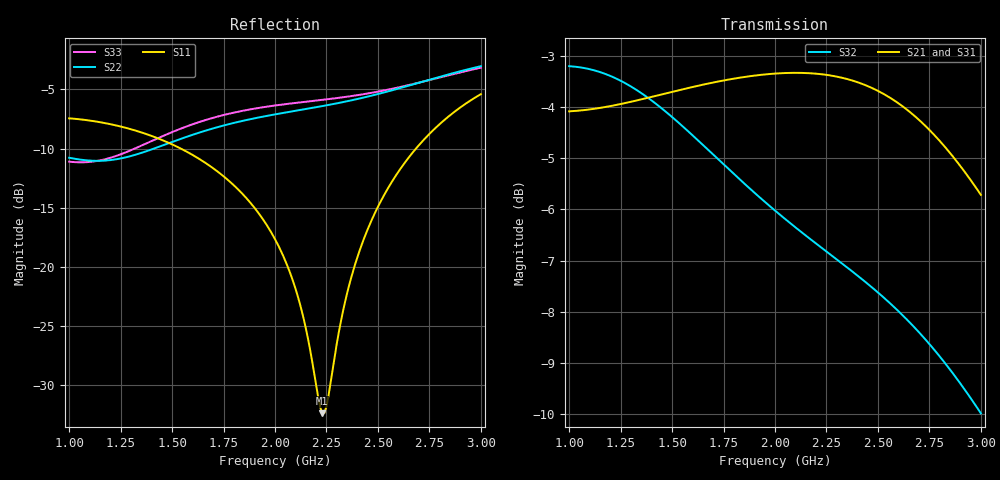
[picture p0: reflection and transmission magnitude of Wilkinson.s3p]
! Touchstone file exported from HFSS 2021.1.0
!  File:  C:/Users/deng/Documents/Ansoft/Wilkinson_v1.aedt
!  Generated:  5:33:42 %x4E0B%x5348  7%x6708 20, 2026
!  Design:  Wilkinson_2p4GHz
!  Project:  Wilkinson_v1
!  Setup:  Setup1
!  Solution:  Sweep
# GHz S MA R 50.000000
! Terminal data exported
! Port[1] = 1
! Port[2] = 2
! Port[3] = 3
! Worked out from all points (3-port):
!   201 points, 1 GHz to 3 GHz, reference 50 ohm
!   strongest paths, dB at 1 GHz, 1.5 GHz, 2 GHz, 2.5 GHz, 3 GHz:
!     S21: -4.1, -3.7, -3.3, -3.7, -5.7
!     S31: -4.0, -4.0, -3.7, -3.8, -5.6
!     S32: -3.2, -4.2, -6.0, -7.6, -10.0
!   lowest |S11| = -32.4 dB at 2.23 GHz (marker M1), VSWR 1.05, Z = 47.7 + j0.607 ohm
!   |S11| at or under -10 dB: 1.543 GHz to 2.685 GHz (1.142 GHz wide, 54 % of centre)
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1  0.4247 86.6  0.6249 -123.1  0.6289 -125.1
   0.6249 -123.1  0.2895 41.2  0.6918 -149.7
   0.6289 -125.1  0.6918 -149.7  0.2786 37.4
1.24  0.3941 53.2  0.6346 -152.2  0.6287 -154.9
      0.6346 -152.2  0.2862 -18.7  0.6711 170.7
      0.6287 -154.9  0.6711 170.7  0.297 -24.1
1.53  0.3204 8.0  0.6551 171.1  0.6349 168.6
      0.6551 171.1  0.3448 -81.9  0.6096 123.6
      0.6349 168.6  0.6096 123.6  0.3804 -84.6
2  0.1311 -79.5  0.6803 107.2  0.654 106.2
   0.6803 107.2  0.4413 -145.9  0.4998 52.0
   0.654 106.2  0.4998 52.0  0.4811 -146.2
2.12  0.07037 -111.0  0.6814 90.0  0.6575 89.3
      0.6814 90.0  0.4602 -157.3  0.4776 34.1
      0.6575 89.3  0.4776 34.1  0.4957 -157.6
2.23  0.02409 164.7  0.6792 73.9  0.6584 73.5
      0.6792 73.9  0.4783 -166.8  0.4591 17.7
      0.6584 73.5  0.4591 17.7  0.5083 -167.1
2.36  0.08365 60.4  0.6712 54.5  0.6552 54.2
      0.6712 54.5  0.5035 -177.2  0.4383 -1.9
      0.6552 54.2  0.4383 -1.9  0.5256 -177.5
2.5  0.1797 25.1  0.6544 33.1  0.6442 33.0
     0.6544 33.1  0.5378 172.1  0.4157 -23.4
     0.6442 33.0  0.4157 -23.4  0.5505 171.7
2.77  0.3797 -28.7  0.5936 -8.6  0.5945 -9.1
      0.5936 -8.6  0.6253 149.8  0.3661 -65.5
      0.5945 -9.1  0.3661 -65.5  0.6225 149.4
3  0.5373 -69.5  0.5178 -43.4  0.525 -44.6
   0.5178 -43.4  0.7053 128.0  0.3167 -101.2
   0.525 -44.6  0.3167 -101.2  0.6952 126.8
